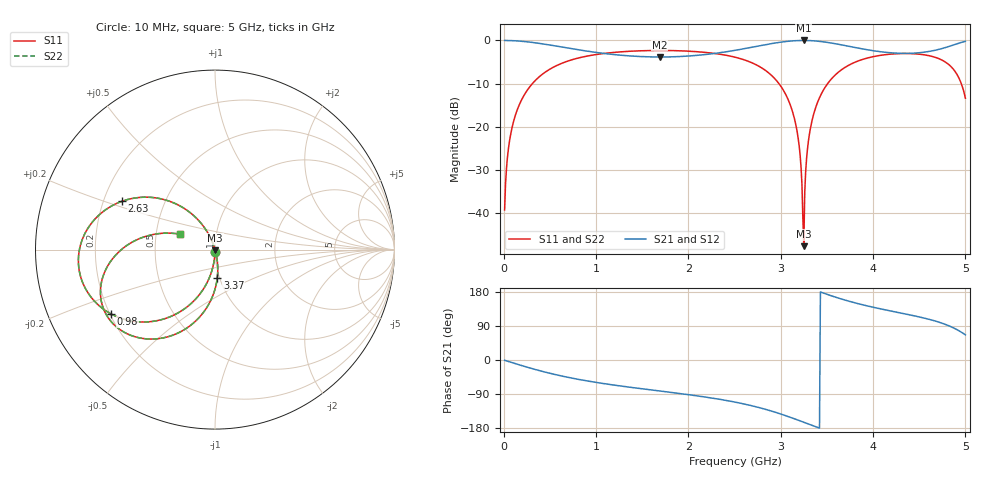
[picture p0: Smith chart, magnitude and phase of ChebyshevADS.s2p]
! Created Mon Dec 14 15:45:45 2020
# ghz S ri R 50
! 2 Port Network Data from SP1.SP block
! freq  reS11  imS11  reS21  imS21  reS12  imS12  reS22  imS22
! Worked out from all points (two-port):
!   500 points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, 10 MHz to 5 GHz, reference 50 ohm
!   highest |S21| = 0.00 dB at 3.25 GHz (marker M1); lowest = -3.8 dB at 1.69 GHz (marker M2)
!   |S21| within 3 dB of the highest: start of sweep to 1.083 GHz; 2.287 GHz to end of sweep
!   lowest |S11| = -47.7 dB at 3.25 GHz (marker M3), VSWR 1.01, Z = 50.1 - j0.399 ohm
!   |S11| at or under -10 dB: start of sweep to 310.9 MHz; 2.981 GHz to 3.508 GHz (527.5 MHz wide, 16.3 % of centre); 4.956 GHz to end of sweep
!   |S22| runs from -47.7 to -2.3 dB; largest |S21 - S12| = 0
!   S11 on the Smith chart (normalised r, x): 10 MHz: 1.00, -0.02; 980 MHz: 0.20, -0.27; 2.63 GHz: 0.28, +0.23; 3.37 GHz: 0.98, -0.31; 5 GHz: 0.66, +0.12
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0.01  -0.000145 -0.0109  0.9999 -0.0134  0.9999 -0.0134  -0.000145 -0.0109
0.08  -0.00921 -0.086  0.9906 -0.1061  0.9906 -0.1061  -0.00921 -0.086
0.21  -0.0603 -0.2128  0.9383 -0.2657  0.9383 -0.2657  -0.0603 -0.2128
0.85  -0.5116 -0.3867  0.4626 -0.6121  0.4626 -0.6121  -0.5116 -0.3867
0.98  -0.5799 -0.358  0.3844 -0.6227  0.3844 -0.6227  -0.5799 -0.358
1.68  -0.7571 -0.1133  0.0952 -0.6363  0.0952 -0.6363  -0.7571 -0.1133
1.69  -0.7577 -0.1093  0.0918 -0.6368  0.0918 -0.6368  -0.7577 -0.1093
2.51  -0.5943 0.2322  -0.2802 -0.7172  -0.2802 -0.7172  -0.5943 0.2322
2.63  -0.5175 0.2695  -0.3751 -0.7203  -0.3751 -0.7203  -0.5175 0.2695
3.09  -0.0976 0.1691  -0.8495 -0.4902  -0.8495 -0.4902  -0.0976 0.1691
3.18  -0.0319 0.0789  -0.9235 -0.3739  -0.9235 -0.3739  -0.0319 0.0789
3.21  -0.0156 0.0444  -0.9426 -0.3307  -0.9426 -0.3307  -0.0156 0.0444
3.23  -0.00647 0.0205  -0.9534 -0.3008  -0.9534 -0.3008  -0.00647 0.0205
3.25  0.00112 -0.00398  -0.9627 -0.2704  -0.9627 -0.2704  0.00112 -0.00398
3.29  0.0116 -0.0542  -0.9765 -0.2082  -0.9765 -0.2082  0.0116 -0.0542
3.34  0.0155 -0.1179  -0.9845 -0.1292  -0.9845 -0.1292  0.0155 -0.1179
3.37  0.013 -0.1558  -0.9843 -0.0821  -0.9843 -0.0821  0.013 -0.1558
3.65  -0.1431 -0.4274  -0.8465 0.2835  -0.8465 0.2835  -0.1431 -0.4274
4.17  -0.5261 -0.448  -0.4686 0.5504  -0.4686 0.5504  -0.5261 -0.448
4.69  -0.6157 -0.1272  -0.1573 0.7616  -0.1573 0.7616  -0.6157 -0.1272
4.88  -0.4471 0.0492  0.0977 0.8878  0.0977 0.8878  -0.4471 0.0492
5  -0.196 0.0862  0.3931 0.8942  0.3931 0.8942  -0.196 0.0862
